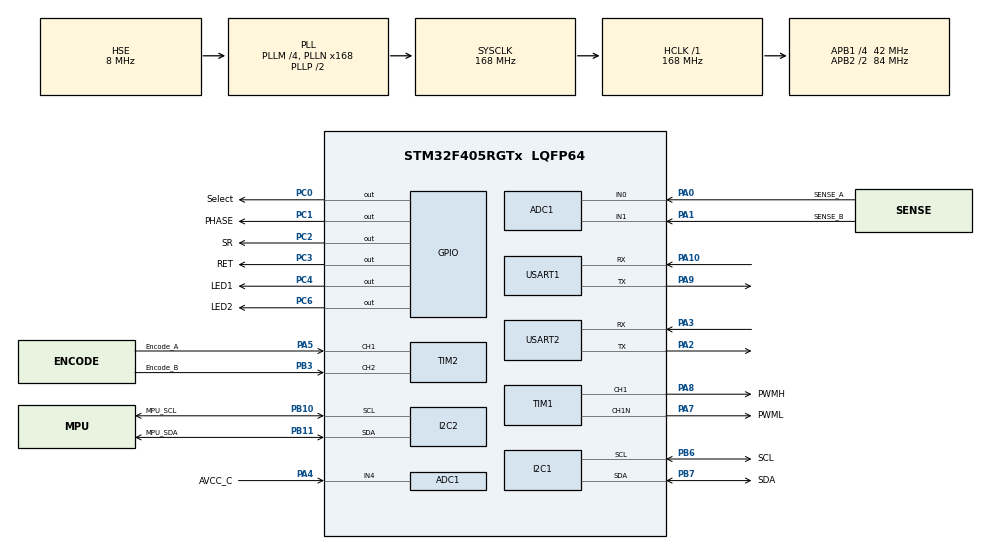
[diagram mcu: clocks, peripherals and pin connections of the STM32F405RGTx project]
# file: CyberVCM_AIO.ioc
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ADC1.Channel-0\#ChannelRegularConversion=ADC_CHANNEL_0
ADC1.Channel-1\#ChannelRegularConversion=ADC_CHANNEL_1
ADC1.Channel-2\#ChannelRegularConversion=ADC_CHANNEL_4
ADC1.NbrOfConversion=3
ADC1.NbrOfConversionFlag=1
ADC1.Rank-0\#ChannelRegularConversion=1
ADC1.Rank-1\#ChannelRegularConversion=2
ADC1.Rank-2\#ChannelRegularConversion=3
ADC1.SamplingTime-0\#ChannelRegularConversion=ADC_SAMPLETIME_3CYCLES
ADC1.SamplingTime-1\#ChannelRegularConversion=ADC_SAMPLETIME_15CYCLES
ADC1.SamplingTime-2\#ChannelRegularConversion=ADC_SAMPLETIME_28CYCLES
ADC1.master=1
Dma.ADC1.0.Direction=DMA_PERIPH_TO_MEMORY
Dma.ADC1.0.FIFOMode=DMA_FIFOMODE_DISABLE
Dma.ADC1.0.Instance=DMA2_Stream0
Dma.ADC1.0.MemDataAlignment=DMA_MDATAALIGN_HALFWORD
Dma.ADC1.0.MemInc=DMA_MINC_ENABLE
Dma.ADC1.0.Mode=DMA_CIRCULAR
Dma.ADC1.0.PeriphDataAlignment=DMA_PDATAALIGN_HALFWORD
Dma.ADC1.0.PeriphInc=DMA_PINC_DISABLE
Dma.ADC1.0.Priority=DMA_PRIORITY_LOW
Dma.Request0=ADC1
FREERTOS.Tasks01=defaultTask,24,128,StartDefaultTask,Default,NULL,Dynamic,NULL,NULL
Mcu.Family=STM32F4
Mcu.Name=STM32F405RGTx
Mcu.Package=LQFP64
NVIC.DMA2_Stream0_IRQn=true\:5\:0\:false\:false\:true\:true\:false\:true
NVIC.PriorityGroup=NVIC_PRIORITYGROUP_4
NVIC.TIM6_DAC_IRQn=true\:15\:0\:false\:false\:true\:false\:false\:true
NVIC.TimeBase=TIM6_DAC_IRQn
NVIC.TimeBaseIP=TIM6
PA0-WKUP.GPIO_Label=SENSE_A
PA0-WKUP.Signal=ADCx_IN0
PA1.GPIO_Label=SENSE_B
PA1.Signal=ADCx_IN1
PA10.Mode=Asynchronous
PA10.Signal=USART1_RX
PA13.Mode=Serial_Wire
PA13.Signal=SYS_JTMS-SWDIO
PA14.Mode=Serial_Wire
PA14.Signal=SYS_JTCK-SWCLK
PA2.Mode=Asynchronous
PA2.Signal=USART2_TX
PA3.Mode=Asynchronous
PA3.Signal=USART2_RX
PA4.GPIO_Label=AVCC_C
PA4.Signal=ADCx_IN4
PA5.GPIO_Label=Encode_A
PA5.Signal=S_TIM2_CH1_ETR
PA7.GPIO_Label=PWML
PA7.Mode=Output Compare1 CH1 CH1N
PA7.Signal=TIM1_CH1N
PA8.GPIO_Label=PWMH
PA8.Signal=S_TIM1_CH1
PA9.Mode=Asynchronous
PA9.Signal=USART1_TX
PB10.GPIO_Label=MPU_SCL
PB10.Mode=I2C
PB10.Signal=I2C2_SCL
PB11.GPIO_Label=MPU_SDA
PB11.Mode=I2C
PB11.Signal=I2C2_SDA
PB3.GPIO_Label=Encode_B
PB3.Signal=S_TIM2_CH2
PB6.GPIO_Label=SCL
PB6.Mode=I2C
PB6.Signal=I2C1_SCL
PB7.GPIO_Label=SDA
PB7.Mode=I2C
PB7.Signal=I2C1_SDA
PC0.GPIO_Label=Select
PC0.Signal=GPIO_Output
PC1.GPIO_Label=PHASE
PC1.Signal=GPIO_Output
PC2.GPIO_Label=SR
PC2.Signal=GPIO_Output
PC3.GPIO_Label=RET
PC3.Signal=GPIO_Output
PC4.GPIO_Label=LED1
PC4.Signal=GPIO_Output
PC6.GPIO_Label=LED2
PC6.Signal=GPIO_Output
PH0-OSC_IN.Mode=HSE-External-Oscillator
PH0-OSC_IN.Signal=RCC_OSC_IN
PH1-OSC_OUT.Mode=HSE-External-Oscillator
PH1-OSC_OUT.Signal=RCC_OSC_OUT
ProjectManager.HeapSize=0x600
ProjectManager.StackSize=0x600
ProjectManager.TargetToolchain=SW4STM32
RCC.48MHZClocksFreq_Value=84000000
RCC.AHBFreq_Value=168000000
RCC.APB1CLKDivider=RCC_HCLK_DIV4
RCC.APB1Freq_Value=42000000
RCC.APB1TimFreq_Value=84000000
RCC.APB2CLKDivider=RCC_HCLK_DIV2
RCC.APB2Freq_Value=84000000
RCC.APB2TimFreq_Value=168000000
RCC.CortexFreq_Value=168000000
RCC.HCLKFreq_Value=168000000
RCC.HSE_VALUE=8000000
RCC.HSI_VALUE=16000000
RCC.LSE_VALUE=32768
RCC.PLLM=4
RCC.PLLN=168
RCC.PLLSourceVirtual=RCC_PLLSOURCE_HSE
RCC.SYSCLKFreq_VALUE=168000000
RCC.SYSCLKSource=RCC_SYSCLKSOURCE_PLLCLK
RCC.VCOOutputFreq_Value=336000000
SH.ADCx_IN0.0=ADC1_IN0,IN0
SH.ADCx_IN1.0=ADC1_IN1,IN1
SH.ADCx_IN4.0=ADC1_IN4,IN4
SH.S_TIM1_CH1.0=TIM1_CH1,Output Compare1 CH1 CH1N
SH.S_TIM2_CH1_ETR.0=TIM2_CH1,Encoder_Interface
SH.S_TIM2_CH2.0=TIM2_CH2,Encoder_Interface
TIM1.Channel-Output\ Compare1\ CH1\ CH1N=TIM_CHANNEL_1
USART1.VirtualMode=VM_ASYNC
USART2.VirtualMode=VM_ASYNC
VP_FREERTOS_VS_CMSIS_V2.Mode=CMSIS_V2
VP_SYS_VS_tim6.Mode=TIM6
board=custom

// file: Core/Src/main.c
/* USER CODE BEGIN Header */
/**
  ******************************************************************************
  * @file           : main.c
  * @brief          : Main program body
  ******************************************************************************
  * @attention
  *
  * <h2><center>&copy; Copyright (c) 2022 STMicroelectronics.
  * All rights reserved.</center></h2>
  *
  * This software component is licensed by ST under Ultimate Liberty license
  * SLA0044, the "License"; You may not use this file except in compliance with
  * the License. You may obtain a copy of the License at:
  *                             www.st.com/SLA0044
  *
  ******************************************************************************
  */
/* USER CODE END Header */
#include "main.h"
#include "cmsis_os.h"
#include "adc.h"
#include "dma.h"
#include "i2c.h"
#include "tim.h"
#include "usart.h"
#include "gpio.h"

/* USER CODE BEGIN Includes */
#include "retarget.h"
#include "tof200f_uart.h"
#include "TOF200F.h"

/**
# for use printf & scanf with float
set(COMMON_FLAGS "-specs=nosys.specs -specs=nano.specs -u _printf_float -u _scanf_float")

include_directories(Core/Inc
        Drivers/STM32F4xx_HAL_Driver/Inc
        Drivers/STM32F4xx_HAL_Driver/Inc/Legacy
        Drivers/CMSIS/Device/ST/STM32F4xx/Include
        Drivers/CMSIS/Include
        Middlewares/Third_Party/FreeRTOS/Source/include
        Middlewares/Third_Party/FreeRTOS/Source/CMSIS_RTOS_V2
        Middlewares/Third_Party/FreeRTOS/Source/portable/GCC/ARM_CM4F
        UserApp
        UserApp/protocols
        Ctrl/Sensor/Encoder
        Ctrl/Signal
        Ctrl/Utils
        Platform/Sensor
        Platform/Signal
        Platform/Utils
        )

file(GLOB_RECURSE SOURCES "startup/*.*"
        "Middlewares/*.*"
        "Drivers/*.*"
        "Core/*.*"
        "UserApp/*.*"
        "UserApp/protocols/*.*"
        "Ctrl/Sensor/Encoder/*.*"
        "Ctrl/Signal/*.*"
        "Ctrl/Utils/*.*"
        )
 **/
/* USER CODE END Includes */

void SystemClock_Config(void);
void MX_FREERTOS_Init(void);

int main(void)
{

  /* MCU Configuration--------------------------------------------------------*/

  /* Reset of all peripherals, Initializes the Flash interface and the Systick. */
  HAL_Init();

  /* Configure the system clock */
  SystemClock_Config();

  /* Initialize all configured peripherals */
  MX_GPIO_Init();
  MX_DMA_Init();
  MX_ADC1_Init();
  MX_I2C1_Init();
  MX_I2C2_Init();
  MX_TIM1_Init();
  MX_TIM2_Init();
  MX_USART1_UART_Init();
  MX_USART2_UART_Init();
  /* USER CODE BEGIN 2 */
  RetargetInit(&huart2);
  tof200f_init();
  printf("Hello World\n");

  TOF_OriData_Filter();
  /* USER CODE END 2 */

  /* Init scheduler */
  osKernelInitialize();  /* Call init function for freertos objects (in freertos.c) */
  MX_FREERTOS_Init();
  /* Start scheduler */
  osKernelStart();

  /* We should never get here as control is now taken by the scheduler */
  /* Infinite loop */
  while (1)
  {

  }
}

void SystemClock_Config(void)
{
  RCC_OscInitTypeDef RCC_OscInitStruct = {0};
  RCC_ClkInitTypeDef RCC_ClkInitStruct = {0};

  /** Configure the main internal regulator output voltage
  */
  __HAL_RCC_PWR_CLK_ENABLE();
  __HAL_PWR_VOLTAGESCALING_CONFIG(PWR_REGULATOR_VOLTAGE_SCALE1);
  /** Initializes the RCC Oscillators according to the specified parameters
  * in the RCC_OscInitTypeDef structure.
  */
  RCC_OscInitStruct.OscillatorType = RCC_OSCILLATORTYPE_HSE;
  RCC_OscInitStruct.HSEState = RCC_HSE_ON;
  RCC_OscInitStruct.PLL.PLLState = RCC_PLL_ON;
  RCC_OscInitStruct.PLL.PLLSource = RCC_PLLSOURCE_HSE;
  RCC_OscInitStruct.PLL.PLLM = 4;
  RCC_OscInitStruct.PLL.PLLN = 168;
  RCC_OscInitStruct.PLL.PLLP = RCC_PLLP_DIV2;
  RCC_OscInitStruct.PLL.PLLQ = 4;
  if (HAL_RCC_OscConfig(&RCC_OscInitStruct) != HAL_OK)
  {
    Error_Handler();
  }
  /** Initializes the CPU, AHB and APB buses clocks
  */
  RCC_ClkInitStruct.ClockType = RCC_CLOCKTYPE_HCLK|RCC_CLOCKTYPE_SYSCLK
                              |RCC_CLOCKTYPE_PCLK1|RCC_CLOCKTYPE_PCLK2;
  RCC_ClkInitStruct.SYSCLKSource = RCC_SYSCLKSOURCE_PLLCLK;
  RCC_ClkInitStruct.AHBCLKDivider = RCC_SYSCLK_DIV1;
  RCC_ClkInitStruct.APB1CLKDivider = RCC_HCLK_DIV4;
  RCC_ClkInitStruct.APB2CLKDivider = RCC_HCLK_DIV2;

  if (HAL_RCC_ClockConfig(&RCC_ClkInitStruct, FLASH_LATENCY_5) != HAL_OK)
  {
    Error_Handler();
  }
}

void HAL_TIM_PeriodElapsedCallback(TIM_HandleTypeDef *htim)
{
  if (htim->Instance == TIM6) {
    HAL_IncTick();
  }
}

void Error_Handler(void)
{
  __disable_irq();
  while (1)
  {
  }
}

/************************ (C) COPYRIGHT STMicroelectronics *****END OF FILE****/

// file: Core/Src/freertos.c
/* USER CODE BEGIN Header */
/**
  ******************************************************************************
  * File Name          : freertos.c
  * Description        : Code for freertos applications
  ******************************************************************************
  * @attention
  *
  * <h2><center>&copy; Copyright (c) 2022 STMicroelectronics.
  * All rights reserved.</center></h2>
  *
  * This software component is licensed by ST under Ultimate Liberty license
  * SLA0044, the "License"; You may not use this file except in compliance with
  * the License. You may obtain a copy of the License at:
  *                             www.st.com/SLA0044
  *
  ******************************************************************************
  */
/* USER CODE END Header */

#include "FreeRTOS.h"
#include "task.h"
#include "main.h"
#include "cmsis_os.h"

/* USER CODE BEGIN Includes */
#include "usart.h"
#include "tof200f_uart.h"
#include "TOF200F.h"

/* USER CODE END Includes */

/* USER CODE BEGIN Variables */
Sensor_Original_Data Sensor_data;

/* USER CODE END Variables */
/* Definitions for defaultTask */
osThreadId_t defaultTaskHandle;
const osThreadAttr_t defaultTask_attributes = {
  .name = "defaultTask",
  .stack_size = 128 * 4,
  .priority = (osPriority_t) osPriorityNormal,
};

void StartDefaultTask(void *argument);

void MX_FREERTOS_Init(void); /* (MISRA C 2004 rule 8.1) */

void MX_FREERTOS_Init(void) {

  /* Create the thread(s) */
  /* creation of defaultTask */
  defaultTaskHandle = osThreadNew(StartDefaultTask, NULL, &defaultTask_attributes);

}

void StartDefaultTask(void *argument)
{
  /* USER CODE BEGIN StartDefaultTask */
  //float temp = 0.0;

  /* Infinite loop */
  for(;;)
  {
      HAL_GPIO_TogglePin(LED1_GPIO_Port, LED1_Pin);
      HAL_Delay(20);
      HAL_GPIO_TogglePin(LED2_GPIO_Port, LED2_Pin);
      HAL_Delay(20);
      //temp = TOF_HEXConvertToEngineerValye();
      //printf("%f\n", temp);
  }
  /* USER CODE END StartDefaultTask */
}

/************************ (C) COPYRIGHT STMicroelectronics *****END OF FILE****/
